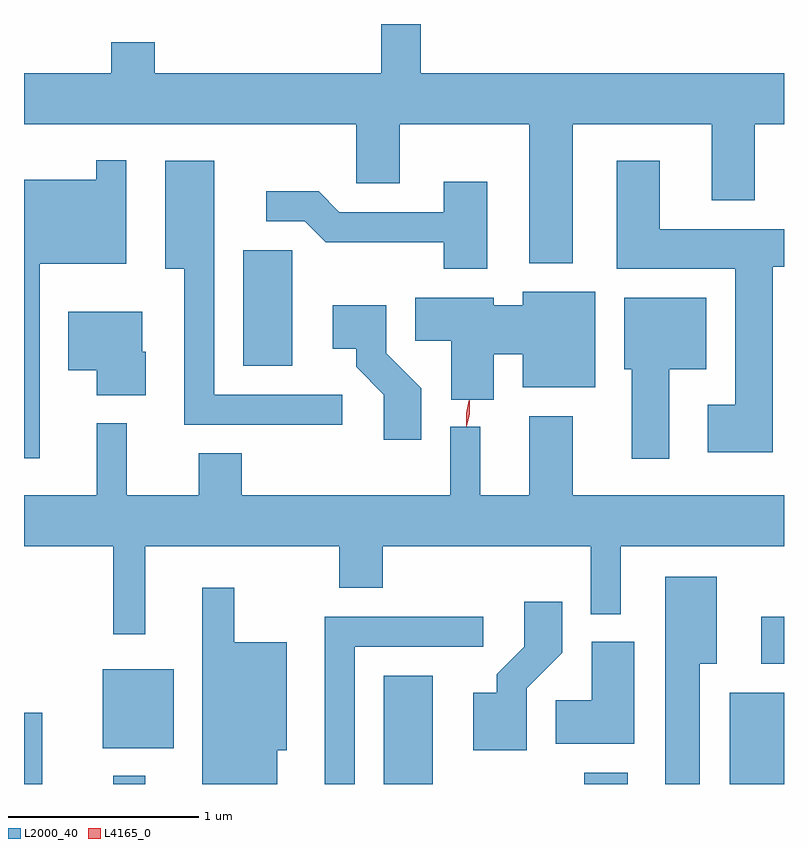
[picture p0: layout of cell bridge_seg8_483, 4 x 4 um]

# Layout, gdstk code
import gdstk
lib = gdstk.Library(unit=1e-6, precision=1e-09)
def R(c, l, rs):  # rectangles x0, y0, x1, y1
    for r in rs: c.add(gdstk.rectangle(r[:2], r[2:], *l))
def P(c, l, *ps):  # polygons
    for p in ps: c.add(gdstk.Polygon(p, *l))
L2000_40 = (2000, 40)
L4165_0 = (4165, 0)

bridge_seg8_483 = lib.new_cell('bridge_seg8_483')
R(bridge_seg8_483, L2000_40, [(207.482,1884.004,207.579,1884.379), (207.951,1884.004,208.119,1884.048), (209.376,1884.004,209.634,1884.574), (210.431,1884.004,210.659,1884.064), (211.196,1884.004,211.482,1884.484), (207.896,1884.191,208.269,1884.609), (211.361,1884.636,211.482,1884.884), (208.636,1886.206,208.894,1886.814)])
P(bridge_seg8_483, L2000_40, [(210.369,1887.476),(211.101,1887.476),(211.101,1887.076),(211.329,1887.076),(211.329,1887.476),(211.482,1887.476),(211.482,1887.744),(209.569,1887.744),(209.569,1888.004),(209.361,1888.004),(209.361,1887.744),(208.169,1887.744),(208.169,1887.909),(207.941,1887.909),(207.941,1887.744),(207.482,1887.744),(207.482,1887.476),(209.231,1887.476),(209.231,1887.166),(209.459,1887.166),(209.459,1887.476),(210.141,1887.476),(210.141,1886.746),(210.369,1886.746)],
  [(207.564,1886.741),(208.019,1886.741),(208.019,1887.288),(207.861,1887.288),(207.861,1887.184),(207.482,1887.184),(207.482,1885.718),(207.564,1885.718)],
  [(211.424,1886.726),(211.482,1886.726),(211.482,1886.924),(210.829,1886.924),(210.829,1887.284),(210.601,1887.284),(210.601,1886.716),(211.226,1886.716),(211.226,1885.999),(211.081,1885.999),(211.081,1885.751),(211.424,1885.751)],
  [(209.158,1886.054),(208.484,1886.054),(208.484,1887.284),(208.226,1887.284),(208.226,1886.716),(208.326,1886.716),(208.326,1885.896),(209.158,1885.896)],
  [(209.919,1887.174),(209.691,1887.174),(209.691,1887.014),(209.142,1887.014),(209.032,1887.124),(208.758,1887.124),(208.758,1886.966),(208.959,1886.966),(209.069,1886.856),(209.691,1886.856),(209.691,1886.716),(209.919,1886.716)],
  [(209.954,1886.266),(210.106,1886.266),(210.106,1886.091),(210.489,1886.091),(210.489,1886.594),(210.106,1886.594),(210.106,1886.524),(209.954,1886.524),(209.954,1886.564),(209.541,1886.564),(209.541,1886.336),(209.731,1886.336),(209.731,1886.026),(209.954,1886.026)],
  [(210.879,1886.186),(211.074,1886.186),(211.074,1886.564),(210.641,1886.564),(210.641,1886.186),(210.681,1886.186),(210.681,1885.716),(210.879,1885.716)],
  [(209.574,1886.087),(209.389,1886.272),(209.389,1886.524),(209.106,1886.524),(209.106,1886.296),(209.231,1886.296),(209.231,1886.199),(209.376,1886.054),(209.376,1885.816),(209.574,1885.816)],
  [(208.124,1886.279),(208.104,1886.279),(208.104,1886.489),(207.716,1886.489),(207.716,1886.181),(207.866,1886.181),(207.866,1886.051),(208.124,1886.051)],
  [(208.119,1885.256),(209.141,1885.256),(209.141,1885.036),(209.369,1885.036),(209.369,1885.256),(210.466,1885.256),(210.466,1884.898),(210.624,1884.898),(210.624,1885.256),(211.482,1885.256),(211.482,1885.524),(210.369,1885.524),(210.369,1885.939),(210.141,1885.939),(210.141,1885.524),(209.884,1885.524),(209.884,1885.883),(209.726,1885.883),(209.726,1885.524),(208.629,1885.524),(208.629,1885.744),(208.401,1885.744),(208.401,1885.524),(208.024,1885.524),(208.024,1885.903),(207.866,1885.903),(207.866,1885.524),(207.482,1885.524),(207.482,1885.256),(207.951,1885.256),(207.951,1884.793),(208.119,1884.793)],
  [(211.039,1884.636),(211.129,1884.636),(211.129,1885.094),(210.856,1885.094),(210.856,1884.004),(211.039,1884.004)],
  [(208.814,1884.181),(208.864,1884.181),(208.864,1884.749),(208.589,1884.749),(208.589,1885.038),(208.421,1885.038),(208.421,1884.004),(208.814,1884.004)],
  [(210.129,1884.509),(210.314,1884.694),(210.314,1884.964),(210.116,1884.964),(210.116,1884.727),(209.971,1884.582),(209.971,1884.484),(209.846,1884.484),(209.846,1884.181),(210.129,1884.181)],
  [(209.224,1884.726),(209.898,1884.726),(209.898,1884.884),(209.066,1884.884),(209.066,1884.004),(209.224,1884.004)],
  [(210.694,1884.754),(210.471,1884.754),(210.471,1884.444),(210.281,1884.444),(210.281,1884.216),(210.694,1884.216)])
P(bridge_seg8_483, L4165_0, [(209.812,1885.888),(209.812,1885.889),(209.809,1885.955),(209.824,1886.02),(209.825,1886.021),(209.825,1886.02),(209.828,1885.954),(209.813,1885.889)],
  [(209.811,1885.885),(209.81,1885.886),(209.81,1885.955),(209.828,1886.022),(209.828,1886.023),(209.829,1886.022),(209.829,1885.953),(209.811,1885.886)])

lib.write_gds('bridge_seg8_483.gds')
